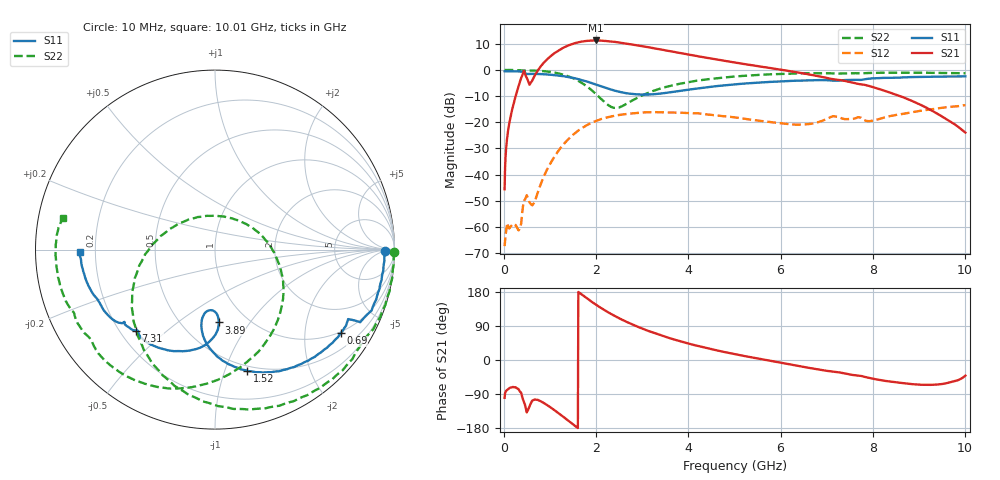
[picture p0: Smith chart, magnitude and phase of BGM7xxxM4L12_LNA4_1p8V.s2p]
! (c) 2014 Infineon Technologies AG
! BGM7xxxM4L12 - Silicon Germanium Quad-Band LTE LNA bank
! 20 May 2014
! Special Application Board
! C1 = L1 = 0 Ohm
! C2 = 100 nF
! Vcc = 1.8V
! RF input and output lines de-embedded
! Port 1 reference plane: LNA input AI (pin 2)
! Port 2 reference plane: LNA output AO (pin 3)
! Network Data:
! Measured BGM7xxxM4L12 device level s-parameters
# GHz S MA R 50
!Freq  MagS11  AngS11  MagS21  AngS21  MagS12  AngS12  MagS22  AngS22
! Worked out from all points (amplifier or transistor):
!   1001 points, 10 MHz to 10.01 GHz, reference 50 ohm
!   highest |S21| = 11.3 dB at 1.99 GHz (marker M1)
!   |S21| within 3 dB of that: 1.261 GHz to 3.257 GHz (1.996 GHz wide, 88.3 % of centre)
!   unconditionally stable (mu >= 1): start of sweep to 118.3 MHz; 267 MHz to 6.338 GHz; 9.293 GHz to end of sweep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
!   at 1.67 GHz: K = 1.25, MAG = 13.6 dB, |S12| = -22.4 dB
!   at 5.01 GHz: K = 1.19, MAG = 7.8 dB, |S12| = -18.1 dB
!   at 10.01 GHz: K = 3.48, MAG = -13.6 dB, |S12| = -13.4 dB
!   lowest NFmin = 0.69 dB at 1.85 GHz
!   S11 on the Smith chart (normalised r, x): 10 MHz: 36, -5; 690 MHz: 0.95, -3.03; 1.52 GHz: 0.45, -1.19; 3.89 GHz: 0.74, -0.72; 7.31 GHz: 0.26, -0.40; 10.01 GHz: 0.14, -0.01
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0.01  0.9474 -0.4  0.005254 -99.7  0.0004289 20.0  0.9998 -0.7
0.11  0.9435 -5.9  0.0944 -74.6  0.0009352 64.0  0.9973 -7.8
0.32  0.9383 -17.8  0.5106 -78.9  0.0008729 115.2  0.9919 -23.0
0.47  0.8582 -27.1  0.7693 -127.0  0.003625 134.6  0.9696 -33.1
0.54  0.8382 -27.9  0.5504 -125.7  0.003116 120.8  0.9762 -37.9
0.69  0.8413 -33.7  0.8576 -104.8  0.003559 167.3  0.9694 -49.5
0.89  0.8238 -43.1  1.469 -115.8  0.01056 -173.4  0.942 -65.9
1.14  0.7897 -55.5  2.237 -136.7  0.02558 178.5  0.8746 -87.9
1.32  0.7531 -64.9  2.755 -153.3  0.04072 168.0  0.7963 -105.4
1.52  0.6977 -75.2  3.218 -172.1  0.06029 154.6  0.6775 -126.3
1.68  0.6443 -83.0  3.479 173.1  0.07677 143.7  0.5684 -144.4
1.99  0.5295 -94.9  3.666 146.2  0.1062 123.2  0.3496 175.3
2.25  0.4418 -99.8  3.551 126.4  0.1248 107.9  0.2155 127.6
2.52  0.3791 -100.3  3.33 108.7  0.139 94.4  0.1962 63.4
2.93  0.3408 -95.6  2.914 86.2  0.1519 78.0  0.3063 4.1
3.35  0.3507 -89.3  2.507 67.2  0.156 63.8  0.4298 -27.7
3.89  0.4067 -87.0  2.057 47.0  0.1517 50.7  0.5627 -56.0
5.01  0.5304 -95.5  1.386 15.4  0.1241 35.4  0.751 -94.2
6.68  0.6379 -124.0  0.8037 -22.2  0.09423 57.9  0.868 -131.3
7.31  0.6305 -134.3  0.6364 -33.6  0.1206 52.1  0.8564 -145.7
8.35  0.7075 -154.2  0.3752 -56.4  0.1302 70.7  0.8879 -170.0
10.01  0.7545 -178.9  0.06372 -41.4  0.2128 66.7  0.8648 168.1
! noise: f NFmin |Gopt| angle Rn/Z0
1.8  0.7185  0.4029  64.04  0.1629
1.85  0.6936  0.3941  65.41  0.1491
1.9  0.696  0.3866  67.33  0.1438
1.95  0.6961  0.3846  68.65  0.1474
2  0.6937  0.383  71.23  0.1403
2.05  0.6943  0.3877  73.49  0.1373
2.1  0.6972  0.3725  74.71  0.1398
2.2  0.735  0.3799  78.67  0.137
2.35  0.7661  0.3775  84.42  0.1321
2.65  0.8188  0.3802  97.99  0.1276
